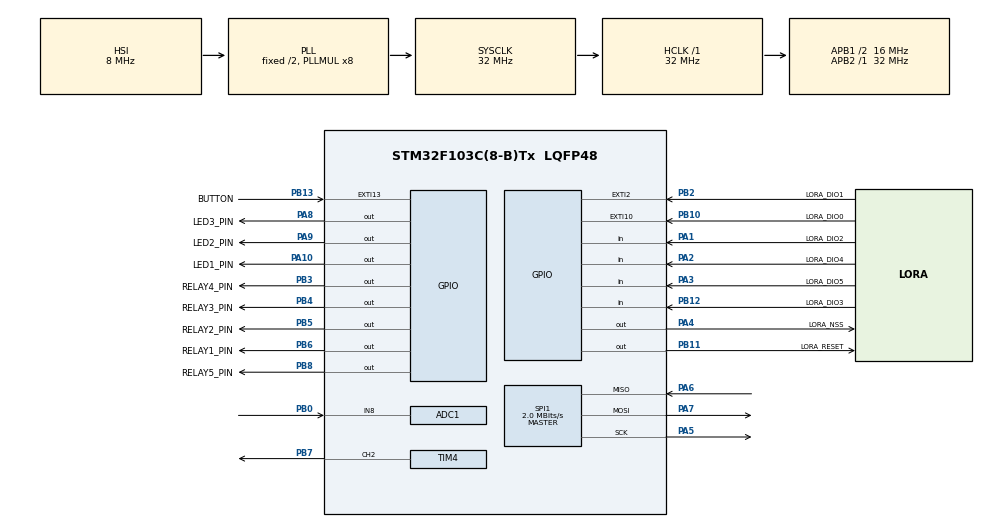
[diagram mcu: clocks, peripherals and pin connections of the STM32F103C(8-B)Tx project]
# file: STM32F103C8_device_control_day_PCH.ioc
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ADC1.Channel-4\#ChannelRegularConversion=ADC_CHANNEL_8
ADC1.NbrOfConversionFlag=1
ADC1.Rank-4\#ChannelRegularConversion=1
ADC1.SamplingTime-4\#ChannelRegularConversion=ADC_SAMPLETIME_55CYCLES_5
ADC1.master=1
Mcu.Family=STM32F1
Mcu.Name=STM32F103C(8-B)Tx
Mcu.Package=LQFP48
NVIC.EXTI15_10_IRQn=true\:0\:0\:false\:false\:true\:true\:true
NVIC.EXTI2_IRQn=true\:0\:0\:false\:false\:true\:true\:true
NVIC.PriorityGroup=NVIC_PRIORITYGROUP_4
NVIC.RTC_Alarm_IRQn=true\:0\:0\:false\:false\:true\:true\:true
NVIC.SPI1_IRQn=true\:0\:0\:false\:false\:true\:true\:true
PA1.GPIO_Label=LORA_DIO2
PA1.Signal=GPIO_Input
PA10.GPIO_Label=LED1_PIN
PA10.Signal=GPIO_Output
PA13.Mode=Serial_Wire
PA13.Signal=SYS_JTMS-SWDIO
PA14.Mode=Serial_Wire
PA14.Signal=SYS_JTCK-SWCLK
PA2.GPIO_Label=LORA_DIO4
PA2.Signal=GPIO_Input
PA3.GPIO_Label=LORA_DIO5
PA3.Signal=GPIO_Input
PA4.GPIO_Label=LORA_NSS
PA4.Signal=GPIO_Output
PA5.Mode=Full_Duplex_Master
PA5.Signal=SPI1_SCK
PA6.Mode=Full_Duplex_Master
PA6.Signal=SPI1_MISO
PA7.Mode=Full_Duplex_Master
PA7.Signal=SPI1_MOSI
PA8.GPIO_Label=LED3_PIN
PA8.Signal=GPIO_Output
PA9.GPIO_Label=LED2_PIN
PA9.Signal=GPIO_Output
PB0.Signal=ADCx_IN8
PB10.GPIO_Label=LORA_DIO0
PB10.GPIO_PuPd=GPIO_PULLDOWN
PB10.Signal=GPXTI10
PB11.GPIO_Label=LORA_RESET
PB11.Signal=GPIO_Output
PB12.GPIO_Label=LORA_DIO3
PB12.Signal=GPIO_Input
PB13.GPIO_Label=BUTTON
PB13.Signal=GPXTI13
PB2.GPIO_Label=LORA_DIO1
PB2.GPIO_PuPd=GPIO_PULLDOWN
PB2.Signal=GPXTI2
PB3.GPIO_Label=RELAY4_PIN
PB3.Signal=GPIO_Output
PB4.GPIO_Label=RELAY3_PIN
PB4.Signal=GPIO_Output
PB5.GPIO_Label=RELAY2_PIN
PB5.Signal=GPIO_Output
PB6.GPIO_Label=RELAY1_PIN
PB6.Signal=GPIO_Output
PB7.Signal=S_TIM4_CH2
PB8.GPIO_Label=RELAY5_PIN
PB8.Signal=GPIO_Output
ProjectManager.HeapSize=0x200
ProjectManager.StackSize=0x400
ProjectManager.TargetToolchain=STM32CubeIDE
RCC.ADCPresc=RCC_ADCPCLK2_DIV4
RCC.AHBFreq_Value=32000000
RCC.APB1CLKDivider=RCC_HCLK_DIV2
RCC.APB1Freq_Value=16000000
RCC.APB1TimFreq_Value=32000000
RCC.APB2Freq_Value=32000000
RCC.APB2TimFreq_Value=32000000
RCC.HCLKFreq_Value=32000000
RCC.PLLMUL=RCC_PLL_MUL8
RCC.SYSCLKFreq_VALUE=32000000
RCC.SYSCLKSource=RCC_SYSCLKSOURCE_PLLCLK
RCC.USBFreq_Value=32000000
RTC.Format=RTC_FORMAT_BIN
SH.ADCx_IN8.0=ADC1_IN8,IN8
SH.S_TIM4_CH2.0=TIM4_CH2,PWM Generation2 CH2
SPI1.BaudRatePrescaler=SPI_BAUDRATEPRESCALER_16
SPI1.CalculateBaudRate=2.0 MBits/s
SPI1.Direction=SPI_DIRECTION_2LINES
SPI1.Mode=SPI_MODE_MASTER
SPI1.VirtualType=VM_MASTER
TIM2.Prescaler=72
TIM4.Channel-PWM\ Generation2\ CH2=TIM_CHANNEL_2
TIM4.Period=4095
TIM4.Prescaler=0
VP_RTC_VS_RTC_Activate.Mode=RTC_Enabled
VP_TIM2_VS_ClockSourceINT.Mode=Internal
board=custom

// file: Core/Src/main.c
/* USER CODE BEGIN Header */
/**
  ******************************************************************************
  * @file           : main.c
  * @brief          : Main program body
  ******************************************************************************
  * @attention
  *
  * <h2><center>&copy; Copyright (c) 2020 STMicroelectronics.
  * All rights reserved.</center></h2>
  *
  * This software component is licensed by ST under BSD 3-Clause license,
  * the "License"; You may not use this file except in compliance with the
  * License. You may obtain a copy of the License at:
  *                        opensource.org/licenses/BSD-3-Clause
  *
  ******************************************************************************
  */
/* USER CODE END Header */
#include "main.h"

/* USER CODE BEGIN Includes */
#include <stdlib.h>
#include <string.h>
#include <stdbool.h>
#include <math.h>
#include "../LoRa_main_cpp/LoRa_main_file.h"
#include <FlashPROM.h>

#include <Device_relay.h>
#include <Device_mosfet.h>
#include <Clock_channel.h>

/* USER CODE END Includes */

/* USER CODE BEGIN PD */

#if defined( BUILD_TESTING_CODE_409 )
#define BAND             433375E3
#define PABOOST          true
#define SIGNAL_POWER     14
#define SPREADING_FACTOR 8
#define SIGNAL_BANDWIDTH 150E3
#define SYNC_WORD        0xA5
//  LoRa_begin_result = Begin_lora_module(BAND, true, 14, 8, 250E3, 0x4A);
#else

#define BAND	         43455E4 // basement | object1
//#define BAND             43325E4 // specialized control | test table

#define PABOOST          true
#define SIGNAL_POWER     14
#define SPREADING_FACTOR 8
#define SIGNAL_BANDWIDTH 250E3
#define SYNC_WORD        0x4A
#endif

//#define _TSL2561
//#define _BME280
//#define _CCS811
//#define _WATER_TEMP

#define AMT_CHANNEL 1
//#define CLEAR_TIME
#define USE_LORA
//#define TIME_ADJUSTMENT
#define ADJUSTMENT_SEC 17
#define ADJUSTMENT_SIGN + // +/-

#if defined( USE_LORA )
#define USE_LORA_RTC_SYNC
#define RTC_SYNC_PERIOD_MIN 30
#endif

/* USER CODE END PD */

ADC_HandleTypeDef hadc1;

RTC_HandleTypeDef hrtc;

SPI_HandleTypeDef hspi1;

TIM_HandleTypeDef htim2;
TIM_HandleTypeDef htim4;

/* USER CODE BEGIN PV */

RTC_TimeTypeDef next_time;
struct clock_channel_t all_channel[AMT_CHANNEL];

#if (AMT_CHANNEL > 0)
struct clock_channel_t* channel1 = &all_channel[0];
RTC_TimeTypeDef time_channel1_inclusion = {.Hours=6, .Minutes=0, .Seconds=00};
RTC_TimeTypeDef time_channel1_shutdown = {.Hours=22, .Minutes=00, .Seconds=00};
//RTC_TimeTypeDef time_channel1_inclusion = {.Hours=6, .Minutes=0, .Seconds=00};
//RTC_TimeTypeDef time_channel1_shutdown = {.Hours=0, .Minutes=1, .Seconds=00};
#endif
#if (AMT_CHANNEL > 1)
struct clock_channel_t* channel2 = &all_channel[1];
RTC_TimeTypeDef time_channel2_inclusion = {.Hours=6, .Minutes=0, .Seconds=00};
RTC_TimeTypeDef time_channel2_shutdown = {.Hours=0, .Minutes=1, .Seconds=00};
#endif
#if (AMT_CHANNEL > 2)
struct clock_channel_t* channel3 = &all_channel[2];
RTC_TimeTypeDef time_channel3_inclusion = {.Hours=22, .Minutes=45, .Seconds=0};
RTC_TimeTypeDef time_channel3_shutdown = {.Hours=0, .Minutes=6, .Seconds=0};
#endif
#if (AMT_CHANNEL > 3)
#endif

#if defined (CLEAR_TIME)
RTC_TimeTypeDef clear_time = {.Hours=0, .Minutes=1, .Seconds=0};
#endif

RTC_TimeTypeDef time_synchronization = {.Hours=23, .Minutes=59, .Seconds=30};

struct relay_t relay_led;
bool relay_invert_led;

#if defined( DEBUG )
uint8_t hour=0, min=0, sec=0;
#endif

uint8_t build_hour=0, build_min=0, build_sec=0;

#if defined( TIME_ADJUSTMENT )
RTC_TimeTypeDef time_adjustment;
#endif

#if defined( USE_LORA_RTC_SYNC )
uint32_t deviation_sync_time = 0;
#endif

#if defined( TIME_ADJUSTMENT ) || defined( USE_LORA_RTC_SYNC )
RTC_TimeTypeDef time_subtraction;
#endif

RTC_TimeTypeDef set_sync_time =  {.Hours=0, .Minutes=0, .Seconds=0};
volatile bool receive_sync_time = false;
volatile bool regime_change = false;

volatile int send_type_packet = -1;

												// TSL2561
uint8_t STADY_CONACT_NUMBER = 0;

//SensorsDataTypeDef sensors_data;
DevicesDataTypeDef devices_data;

struct relay_t relay[5];
struct relay_t *relay_start = /** &relay[3]; //*/ &relay[0];
struct relay_t *relay_stop  = /** &relay[2]; //*/ &relay[1];
//struct relay_t *relay_r     = ; // &relay[3];
struct relay_t *relay_valve = /** &relay[0]; //*/ &relay[4]; // ??? (-) ----- (-) ----- (-)
bool relay_invert[5] = {false, false, false, false, false};

struct mosfet_t freq_signal;
// mosfet = mosfet_init(&htim1, TIM_CHANNEL_2, 4095, false);
// mosfet_set_compare(&mosfet, val);

void reset_all_relays() {
	for(int i = 0; i < 5; ++i) {
		relay_set_state(&relay[i], GPIO_PIN_RESET);
	}
    //HAL_GPIO_WritePin(GPIOB, GPIO_PIN_3|GPIO_PIN_4|GPIO_PIN_5|GPIO_PIN_6, GPIO_PIN_RESET);
	//                       RELAY4,    RELAY3,    RELAY2,    RELAY1
}
void set_pwm_pch(uint16_t power) {
	mosfet_set_compare(&freq_signal, power);
}
void start() { // START
	reset_all_relays();
	relay_set_state(relay_start, GPIO_PIN_SET);
    // HAL_GPIO_WritePin(GPIOB, GPIO_PIN_5|GPIO_PIN_4|GPIO_PIN_3, GPIO_PIN_RESET);
    // HAL_GPIO_WritePin(GPIOB, GPIO_PIN_6, GPIO_PIN_SET); // RELAY1
}
void stop() { // STOP
	reset_all_relays();
	relay_set_state(relay_stop, GPIO_PIN_SET);
	set_pwm_pch(0);
	// HAL_GPIO_WritePin(GPIOB, GPIO_PIN_6|GPIO_PIN_4|GPIO_PIN_3, GPIO_PIN_RESET);
	// HAL_GPIO_WritePin(GPIOB, GPIO_PIN_5, GPIO_PIN_SET); // RELAY2
}
void use_valve() { // REVERT
	reset_all_relays();
	relay_set_state(relay_stop, GPIO_PIN_SET);
	relay_set_state(relay_valve, GPIO_PIN_SET);
	set_pwm_pch(0);
	// HAL_GPIO_WritePin(GPIOB, GPIO_PIN_5|GPIO_PIN_4|GPIO_PIN_6, GPIO_PIN_RESET);
	// HAL_GPIO_WritePin(GPIOB, GPIO_PIN_3, GPIO_PIN_SET); // RELAY4
}
//void revert() { // REVERT
//	relay_set_state(relay_r, !relay_r->state);
//	// HAL_GPIO_WritePin(GPIOB, GPIO_PIN_5|GPIO_PIN_4|GPIO_PIN_6, GPIO_PIN_RESET);
//	// HAL_GPIO_WritePin(GPIOB, GPIO_PIN_3, GPIO_PIN_SET); // RELAY4
//}

//const uint16_t PUMP_PWM_DAY  = 4095;
const unsigned long PUMP_ON_DAY  = /** (1 * 60 + 00) * 1000; //*/ (0 * 60 + 20) * 1000; // (1 * 60 + 00) * 1000;
const unsigned long PUMP_OFF_DAY = /** (4 * 60 + 00) * 1000; //*/ (0 * 60 + 40) * 1000; // (4 * 60 + 00) * 1000;
const unsigned long VALVE_ON_DAY = /** (0 * 60 + 10) * 1000; //*/ (0 * 60 + 10) * 1000; // (0 * 60 + 10) * 1000;
//const uint16_t PUMP_PWM_NIGHT  = 4095;
const unsigned long PUMP_ON_NIGHT  = /** (1 * 60 + 00) * 1000; //*/ (0 * 60 + 20) * 1000; // (1 * 60 + 00) * 1000;
const unsigned long PUMP_OFF_NIGHT = /** (6 * 60 + 00) * 1000; //*/ (0 * 60 + 60) * 1000; // (6 * 60 + 00) * 1000;
const unsigned long VALVE_ON_NIGHT = /** (0 * 60 + 10) * 1000; //*/ (0 * 60 + 10) * 1000; // (0 * 60 + 10) * 1000;
unsigned long last_devices_change = 0;
uint8_t devices_state = 0;
bool get_stop = false;

volatile bool set_pwm = false;
volatile uint16_t set_pump_pwm = 4095; // set from server
uint16_t pump_pwm = 4095; // set in main

uint8_t LoRa_begin_result;

// If gain = false (0), device is set to low gain (1X)
// If gain = high (1), device is set to high gain (16X)
// If time = 0, integration will be 13.7ms
// If time = 1, integration will be 101ms
// If time = 2, integration will be 402ms
// If time = 3, use manual start / stop (ms = 0)
// ms will be set to integration time
bool gain = 0;
unsigned  int ms = 0;
void user_delay_ms(uint32_t period);

uint8_t tim4 = 0;

int8_t rslt;

uint16_t exti5_10, exti2;
uint16_t cnt_task_1, cnt_task_2, cnt_task_3;

uint16_t water_temp = 0;

volatile bool end_contact = false;
volatile bool change_state = false;

uint32_t control_module_id_and_channel[BUFFSIZE] = {0x00000000, 0x00000000};
int8_t tick;

//buf32_t control_module_id;
/* USER CODE END PV */

void SystemClock_Config(void);
static void MX_GPIO_Init(void);
static void MX_SPI1_Init(void);
static void MX_TIM2_Init(void);
static void MX_ADC1_Init(void);
static void MX_TIM4_Init(void);
static void MX_RTC_Init(void);
/* USER CODE BEGIN PFP */
void DevicesGetValues();
/* USER CODE END PFP */

/* USER CODE BEGIN 0 */
void alarm_rtc();
void user_delay_ms(uint32_t period)
{
  HAL_Delay(period);
}

void HAL_TIM_PeriodElapsedCallback(TIM_HandleTypeDef *htim)
{
	if(htim->Instance == TIM4) //check if the interrupt comes from TIM1
	{
		//HAL_ResumeTick();
		//HAL_GPIO_TogglePin(LED1_PIN_GPIO_Port, LED1_PIN_Pin);
		tim4++;
		// if end_contact
//			SensorsGetValues();
//			Main_cpp(&sensors_data);
			// wake up
		//HAL_Delay(2000);

	}
}
/* USER CODE END 0 */

int main(void)
{
  /* USER CODE BEGIN 1 */

//  relay_invert[0] = relay_invert[1] = false;
//  relay_invert[2] = relay_invert[3] = false;
//  relay_invert[4] = false;
#if defined( DEBUG )
	RTC_TimeTypeDef time;
	HAL_StatusTypeDef res_t;
#endif

  Read_control_module_info_from_flash(control_module_id_and_channel);
  Get_control_module_info_from_main(control_module_id_and_channel);
  set_pump_pwm = pump_pwm = Read_PWM_info_from_flash();
  /* USER CODE END 1 */

  /* MCU Configuration--------------------------------------------------------*/

  /* Reset of all peripherals, Initializes the Flash interface and the Systick. */
  HAL_Init();

  /* Configure the system clock */
  SystemClock_Config();

  /* Initialize all configured peripherals */
  MX_GPIO_Init();
  MX_SPI1_Init();
  MX_TIM2_Init();
  MX_ADC1_Init();
  MX_TIM4_Init();
  MX_RTC_Init();
  /* USER CODE BEGIN 2 */
  // Подготовка устройств

#if (AMT_CHANNEL > 0)
  relay_led = relay_init(LED1_PIN_GPIO_Port, LED1_PIN_Pin, false);
//  relay[0] = relay_init(RELAY1_PIN_GPIO_Port, RELAY1_PIN_Pin, relay_invert[0]); // {0} -----
  *channel1 = clock_channel_init(&relay_led, time_channel1_inclusion, time_channel1_shutdown);
  channel1->deviation_sec = 2;
#endif
#if (AMT_CHANNEL > 1)
  relay[1] = relay_init(RELAY2_PIN_GPIO_Port, RELAY2_PIN_Pin, relay_invert[1]);
  *channel2 = clock_channel_init(&relay[1], time_channel2_inclusion, time_channel2_shutdown);
  channel2->deviation_sec = 2;
#endif
#if (AMT_CHANNEL > 2)
  relay[2] = relay_init(RELAY_NS_PIN_GPIO_Port, RELAY_NS_PIN_Pin, relay_invert[2]);
  *channel3 = clock_channel_init(&relay[2], time_channel3_inclusion, time_channel3_shutdown);
  channel3->deviation_sec = 2;
#endif
#if (AMT_CHANNEL > 3)
#endif

	relay[0] = relay_init(RELAY1_PIN_GPIO_Port, RELAY1_PIN_Pin, relay_invert[0]);
	relay[1] = relay_init(RELAY2_PIN_GPIO_Port, RELAY2_PIN_Pin, relay_invert[1]);
	relay[2] = relay_init(RELAY3_PIN_GPIO_Port, RELAY3_PIN_Pin, relay_invert[2]);
	relay[3] = relay_init(RELAY4_PIN_GPIO_Port, RELAY4_PIN_Pin, relay_invert[3]);
	relay[4] = relay_init(RELAY5_PIN_GPIO_Port, RELAY5_PIN_Pin, relay_invert[4]);
	freq_signal = mosfet_init(&htim4, TIM_CHANNEL_2, 4095, false);

  //  channel1->state = true;
  //  channel2->state = true;
  //  relay_set_state(channel1->relay, channel1->state);
  //  relay_set_state(channel2->relay, channel2->state);

  // Запуск LoRa
#if defined (USE_LORA)
  Init_lora_module(&hspi1);
  LoRa_begin_result = Begin_lora_module(BAND, PABOOST, SIGNAL_POWER, SPREADING_FACTOR, SIGNAL_BANDWIDTH, SYNC_WORD);
#endif
  for (int i = 0; i < 5; ++i) {
	  HAL_GPIO_TogglePin(LED1_PIN_GPIO_Port, LED1_PIN_Pin);
	  HAL_GPIO_TogglePin(LED2_PIN_GPIO_Port, LED2_PIN_Pin);
	  HAL_GPIO_TogglePin(LED3_PIN_GPIO_Port, LED3_PIN_Pin);
	  HAL_Delay(500);
  }
#if defined (USE_LORA)
  while(LoRa_begin_result != 0) {
	  LoRa_begin_result = Begin_lora_module(BAND, PABOOST, SIGNAL_POWER, SPREADING_FACTOR, SIGNAL_BANDWIDTH, SYNC_WORD);
	  HAL_GPIO_WritePin(LED1_PIN_GPIO_Port, LED1_PIN_Pin, GPIO_PIN_RESET);
	  HAL_GPIO_WritePin(LED2_PIN_GPIO_Port, LED2_PIN_Pin, GPIO_PIN_RESET);
	  HAL_GPIO_WritePin(LED3_PIN_GPIO_Port, LED3_PIN_Pin, GPIO_PIN_SET);
  }
#endif
  HAL_GPIO_WritePin(LED1_PIN_GPIO_Port, LED1_PIN_Pin, GPIO_PIN_RESET);
  HAL_GPIO_WritePin(LED2_PIN_GPIO_Port, LED2_PIN_Pin, GPIO_PIN_RESET);
  HAL_GPIO_WritePin(LED3_PIN_GPIO_Port, LED3_PIN_Pin, GPIO_PIN_RESET);

  // Запуск устройств

  // Перенести установку времени в ESP32!!!, как и запуск на регистрацию
  RTC_TimeTypeDef null_time = {.Hours=build_hour, .Minutes=build_min, .Seconds=build_sec};
#if defined( TIME_ADJUSTMENT )
  time_adjustment = null_time;
#endif

  RTC_DateTypeDef null_date = {.Date=0, .Month=0, .Year=0};
  HAL_RTC_SetTime(&hrtc, &null_time, RTC_FORMAT_BIN);
  alarm_rtc();

#ifdef _CCS811
  configureCCS811();
#endif
  HAL_ADCEx_Calibration_Start(&hadc1);
  HAL_Delay(1000);
  //HAL_TIM_Base_Start_IT(&htim4);
  //HAL_PWR_EnableSleepOnExit();
  //end_contact = true;
//  HAL_GPIO_WritePin(RELAY_NS_PIN_GPIO_Port, RELAY_NS_PIN_Pin, GPIO_PIN_SET);
  DevicesGetValues();
#if defined (USE_LORA)
  Main_cpp(&devices_data);
#endif
  /* USER CODE END 2 */

  /* Infinite loop */
  /* USER CODE BEGIN WHILE */
	HAL_GPIO_TogglePin(LED1_PIN_GPIO_Port, LED1_PIN_Pin);
//  while(0) {
//  	volatile static uint16_t set_pwm = 4095;
//	start();
//  	set_pwm_pch(set_pwm);
//  	HAL_Delay(5000);
//  	stop();
//  	HAL_Delay(5000);
//  }
  while (1)
  {
        res_t = HAL_RTC_GetTime(&hrtc, &time, RTC_FORMAT_BIN);
        if(res_t == HAL_OK) {
            hour = time.Hours;
            min = time.Minutes;
            sec = time.Seconds;
#if defined ( CLEAR_TIME )
            if(hour == clear_time.Hours && min == clear_time.Minutes && sec == clear_time.Seconds) {
        		HAL_RTC_SetDate(&hrtc, &null_date, RTC_FORMAT_BIN);
        		HAL_RTC_SetTime(&hrtc, &null_time, RTC_FORMAT_BIN);
#if defined( TIME_ADJUSTMENT )
        		time_subtraction = clock_subtraction(&time, &time_adjustment);
        		time = null_time;
        		time_adjustment = time;
        		clock_add_second(&time_adjustment, -clock_get_sec(&time_subtraction));
#endif
        		alarm_rtc();
            }
#endif // CLEAR_TIME

#if defined ( USE_LORA_RTC_SYNC )
            if(sec == 0) {
            	time_subtraction = clock_subtraction(&time, &set_sync_time);
            	if(clock_get_sec(&time_subtraction) > RTC_SYNC_PERIOD_MIN * 60) {
            		if(HAL_GetTick() - deviation_sync_time > 60000) {
            			deviation_sync_time = HAL_GetTick();
            			Set_sync_rtc();
            		}
            	}
            }
#endif // USE_LORA_RTC_SYNC
        }

#if defined( TIME_ADJUSTMENT ) // корректировка времени
        time_subtraction = clock_subtraction(&time, &time_adjustment);
        if(clock_get_sec(&time_subtraction) > ADJUSTMENT_SEC) {
//        	for()
//        		__NOP();
        	clock_add_second(&time, ADJUSTMENT_SIGN 1);
    		HAL_RTC_SetDate(&hrtc, &null_date, RTC_FORMAT_BIN);
    		HAL_RTC_SetTime(&hrtc, &time, RTC_FORMAT_BIN);
        	time_adjustment = time;
    		alarm_rtc();
        }
#endif

        // Создаём пакет по включение/выключение устройства или завершении контакта
        if(change_state || end_contact) {
            DevicesGetValues();
            Main_cpp(&devices_data);
            change_state = false;
    		end_contact = false;
        }
        // Принудительное включение/выключение устройства (отключение оборудования)
        if(regime_change) {
			alarm_rtc();
            DevicesGetValues();
            Main_cpp(&devices_data);
            regime_change = false;
        }
        // Установка времени
        if(receive_sync_time) {
        	RTC_TimeTypeDef set_time = set_sync_time;
        	HAL_RTC_SetDate(&hrtc, &null_date, RTC_FORMAT_BIN);
			HAL_RTC_SetTime(&hrtc, &set_time, RTC_FORMAT_BIN);
#if defined( TIME_ADJUSTMENT )
        		time_subtraction = clock_subtraction(&time, &time_adjustment);
        		time = set_time;
        		time_adjustment = time;
        		clock_add_second(&time_adjustment, -clock_get_sec(&time_subtraction));
#endif
			alarm_rtc();
            receive_sync_time = false;
            change_state = true;
        }

        // Управление каналами по дню и ночи
#if defined (USE_LORA)
    	if(Get_stop()) {
    		get_stop = true;
//            relay_set_state(&relay[1], GPIO_PIN_RESET);
//            relay_set_state(&relay[0], GPIO_PIN_RESET);
            stop();
            last_devices_change = HAL_GetTick();
			devices_state = 0;
    	}
    	else
#endif
        {
//    		volatile bool set_pwm = false;
//    		volatile uint16_t set_pump_pwm = 4095; // set from server
//    		uint16_t pump_pwm = 4095; // set in main
    		get_stop = false;
    		static unsigned long pump_on;
    		static unsigned long valve_on;
    		static unsigned long pump_off;
    		if(set_pwm) { // set PWM from server
    			set_pwm = false;
    			pump_pwm = set_pump_pwm;
    			Write_PWM_to_flash(pump_pwm);
    		}
//    		static uint16_t pump_pwm;
            if(all_channel[0].state) {
            	pump_on = PUMP_ON_DAY;
            	pump_off = PUMP_OFF_DAY;
                valve_on = VALVE_ON_DAY;
//				pump_pwm = PUMP_PWM_DAY;
            }
            else {
            	pump_on = PUMP_ON_NIGHT;
            	pump_off = PUMP_OFF_NIGHT;
                valve_on = VALVE_ON_NIGHT;
//        		pump_pwm = PUMP_PWM_NIGHT;
            }
        	switch(devices_state) {
        	case 0: {
        		if(pump_pwm != 0)
        			start();
	            set_pwm_pch(pump_pwm);
        		if(HAL_GetTick() - last_devices_change > pump_on) {
        			last_devices_change = HAL_GetTick();
//					relay_set_state(&relay[1], GPIO_PIN_SET);
//					relay_set_state(&relay[0], GPIO_PIN_RESET);
					devices_state = 1;
					use_valve();
		            DevicesGetValues();
		            Main_cpp(&devices_data);
        		}
        		break;
        	}
        	case 1: {
        		use_valve();
        		if(HAL_GetTick() - last_devices_change > valve_on) {
        			last_devices_change = HAL_GetTick();
//                    relay_set_state(&relay[1], GPIO_PIN_RESET);
//                    relay_set_state(&relay[0], GPIO_PIN_SET);
					devices_state = 2;
		            stop();
		            DevicesGetValues();
		            Main_cpp(&devices_data);
        		}
        		break;
        	}
        	case 2: {
	            stop();
        		if(HAL_GetTick() - last_devices_change > pump_off - valve_on) {
        			last_devices_change = HAL_GetTick();
//                    relay_set_state(&relay[1], GPIO_PIN_RESET);
//                    relay_set_state(&relay[0], GPIO_PIN_RESET);
					devices_state = 0;
		            start();
		            set_pwm_pch(pump_pwm);
		            DevicesGetValues();
		            Main_cpp(&devices_data);
        		}
        		break;
        	}
        	}
        }

//    	volatile static uint16_t set_pwm = 1000;
//		start();
//    	set_pwm_pch(set_pwm);
//    	stop();
////    	HAL_Delay(5000);
//    	set_pwm_pch(2047);
////    	HAL_Delay(5000);
//    	set_pwm_pch(3071);
////    	HAL_Delay(5000);
//    	set_pwm_pch(4095);
////    	HAL_Delay(5000);
//    	stop();
//    	HAL_Delay(10000);

    	if(Get_stop()) {
    	    HAL_GPIO_WritePin(LED1_PIN_GPIO_Port, LED1_PIN_Pin, GPIO_PIN_RESET);
    	    HAL_GPIO_WritePin(LED2_PIN_GPIO_Port, LED2_PIN_Pin, GPIO_PIN_SET);
//    	    HAL_GPIO_WritePin(LED2_PIN_GPIO_Port, LED2_PIN_Pin, GPIO_PIN_RESET);
//    	    HAL_GPIO_WritePin(LED3_PIN_GPIO_Port, LED3_PIN_Pin, GPIO_PIN_SET);
    	}
    	else {
    	    HAL_GPIO_WritePin(LED2_PIN_GPIO_Port, LED2_PIN_Pin, GPIO_PIN_RESET);
    	    HAL_GPIO_WritePin(LED1_PIN_GPIO_Port, LED1_PIN_Pin, GPIO_PIN_SET);
//    	    HAL_GPIO_WritePin(LED3_PIN_GPIO_Port, LED3_PIN_Pin, GPIO_PIN_RESET);
//    	    HAL_GPIO_WritePin(LED2_PIN_GPIO_Port, LED2_PIN_Pin, GPIO_PIN_SET);
	    }

        HAL_Delay(1);
    /* USER CODE END WHILE */

    /* USER CODE BEGIN 3 */

//	if (end_contact) { // not use
//		end_contact = false;
//		HAL_Delay(100);
//		HAL_TIM_Base_Start_IT(&htim4);
//		HAL_Delay(100);
//		LoRa_sleep();
//		HAL_SuspendTick();
//		HAL_PWR_EnterSLEEPMode(PWR_LOWPOWERREGULATOR_ON, PWR_SLEEPENTRY_WFI);
//		HAL_ResumeTick();
//		HAL_TIM_Base_Stop_IT(&htim4);
//		DevicesGetValues();
//		Main_cpp(&devices_data);
//	}
  }
  /* USER CODE END 3 */
}

void SystemClock_Config(void)
{
  RCC_OscInitTypeDef RCC_OscInitStruct = {0};
  RCC_ClkInitTypeDef RCC_ClkInitStruct = {0};
  RCC_PeriphCLKInitTypeDef PeriphClkInit = {0};

  /** Initializes the RCC Oscillators according to the specified parameters
  * in the RCC_OscInitTypeDef structure.
  */
  RCC_OscInitStruct.OscillatorType = RCC_OSCILLATORTYPE_HSI|RCC_OSCILLATORTYPE_LSI;
  RCC_OscInitStruct.HSIState = RCC_HSI_ON;
  RCC_OscInitStruct.HSICalibrationValue = RCC_HSICALIBRATION_DEFAULT;
  RCC_OscInitStruct.LSIState = RCC_LSI_ON;
  RCC_OscInitStruct.PLL.PLLState = RCC_PLL_ON;
  RCC_OscInitStruct.PLL.PLLSource = RCC_PLLSOURCE_HSI_DIV2;
  RCC_OscInitStruct.PLL.PLLMUL = RCC_PLL_MUL8;
  if (HAL_RCC_OscConfig(&RCC_OscInitStruct) != HAL_OK)
  {
    Error_Handler();
  }
  /** Initializes the CPU, AHB and APB buses clocks
  */
  RCC_ClkInitStruct.ClockType = RCC_CLOCKTYPE_HCLK|RCC_CLOCKTYPE_SYSCLK
                              |RCC_CLOCKTYPE_PCLK1|RCC_CLOCKTYPE_PCLK2;
  RCC_ClkInitStruct.SYSCLKSource = RCC_SYSCLKSOURCE_PLLCLK;
  RCC_ClkInitStruct.AHBCLKDivider = RCC_SYSCLK_DIV1;
  RCC_ClkInitStruct.APB1CLKDivider = RCC_HCLK_DIV2;
  RCC_ClkInitStruct.APB2CLKDivider = RCC_HCLK_DIV1;

  if (HAL_RCC_ClockConfig(&RCC_ClkInitStruct, FLASH_LATENCY_1) != HAL_OK)
  {
    Error_Handler();
  }
  PeriphClkInit.PeriphClockSelection = RCC_PERIPHCLK_RTC|RCC_PERIPHCLK_ADC;
  PeriphClkInit.RTCClockSelection = RCC_RTCCLKSOURCE_LSI;
  PeriphClkInit.AdcClockSelection = RCC_ADCPCLK2_DIV4;
  if (HAL_RCCEx_PeriphCLKConfig(&PeriphClkInit) != HAL_OK)
  {
    Error_Handler();
  }
}

static void MX_ADC1_Init(void)
{

  ADC_ChannelConfTypeDef sConfig = {0};

  /** Common config
  */
  hadc1.Instance = ADC1;
  hadc1.Init.ScanConvMode = ADC_SCAN_DISABLE;
  hadc1.Init.ContinuousConvMode = DISABLE;
  hadc1.Init.DiscontinuousConvMode = DISABLE;
  hadc1.Init.ExternalTrigConv = ADC_SOFTWARE_START;
  hadc1.Init.DataAlign = ADC_DATAALIGN_RIGHT;
  hadc1.Init.NbrOfConversion = 1;
  if (HAL_ADC_Init(&hadc1) != HAL_OK)
  {
    Error_Handler();
  }
  /** Configure Regular Channel
  */
  sConfig.Channel = ADC_CHANNEL_8;
  sConfig.Rank = ADC_REGULAR_RANK_1;
  sConfig.SamplingTime = ADC_SAMPLETIME_55CYCLES_5;
  if (HAL_ADC_ConfigChannel(&hadc1, &sConfig) != HAL_OK)
  {
    Error_Handler();
  }

}

static void MX_RTC_Init(void)
{

  /** Initialize RTC Only
  */
  hrtc.Instance = RTC;
  hrtc.Init.AsynchPrediv = RTC_AUTO_1_SECOND;
  hrtc.Init.OutPut = RTC_OUTPUTSOURCE_ALARM;
  if (HAL_RTC_Init(&hrtc) != HAL_OK)
  {
    Error_Handler();
  }

}

static void MX_SPI1_Init(void)
{

  /* SPI1 parameter configuration*/
  hspi1.Instance = SPI1;
  hspi1.Init.Mode = SPI_MODE_MASTER;
  hspi1.Init.Direction = SPI_DIRECTION_2LINES;
  hspi1.Init.DataSize = SPI_DATASIZE_8BIT;
  hspi1.Init.CLKPolarity = SPI_POLARITY_LOW;
  hspi1.Init.CLKPhase = SPI_PHASE_1EDGE;
  hspi1.Init.NSS = SPI_NSS_SOFT;
  hspi1.Init.BaudRatePrescaler = SPI_BAUDRATEPRESCALER_16;
  hspi1.Init.FirstBit = SPI_FIRSTBIT_MSB;
  hspi1.Init.TIMode = SPI_TIMODE_DISABLE;
  hspi1.Init.CRCCalculation = SPI_CRCCALCULATION_DISABLE;
  hspi1.Init.CRCPolynomial = 10;
  if (HAL_SPI_Init(&hspi1) != HAL_OK)
  {
    Error_Handler();
  }

}

static void MX_TIM2_Init(void)
{

  TIM_ClockConfigTypeDef sClockSourceConfig = {0};
  TIM_MasterConfigTypeDef sMasterConfig = {0};

  htim2.Instance = TIM2;
  htim2.Init.Prescaler = 72;
  htim2.Init.CounterMode = TIM_COUNTERMODE_UP;
  htim2.Init.Period = 65535;
  htim2.Init.ClockDivision = TIM_CLOCKDIVISION_DIV1;
  htim2.Init.AutoReloadPreload = TIM_AUTORELOAD_PRELOAD_DISABLE;
  if (HAL_TIM_Base_Init(&htim2) != HAL_OK)
  {
    Error_Handler();
  }
  sClockSourceConfig.ClockSource = TIM_CLOCKSOURCE_INTERNAL;
  if (HAL_TIM_ConfigClockSource(&htim2, &sClockSourceConfig) != HAL_OK)
  {
    Error_Handler();
  }
  sMasterConfig.MasterOutputTrigger = TIM_TRGO_RESET;
  sMasterConfig.MasterSlaveMode = TIM_MASTERSLAVEMODE_DISABLE;
  if (HAL_TIMEx_MasterConfigSynchronization(&htim2, &sMasterConfig) != HAL_OK)
  {
    Error_Handler();
  }

}

static void MX_TIM4_Init(void)
{

  TIM_MasterConfigTypeDef sMasterConfig = {0};
  TIM_OC_InitTypeDef sConfigOC = {0};

  htim4.Instance = TIM4;
  htim4.Init.Prescaler = 0;
  htim4.Init.CounterMode = TIM_COUNTERMODE_UP;
  htim4.Init.Period = 4095;
  htim4.Init.ClockDivision = TIM_CLOCKDIVISION_DIV1;
  htim4.Init.AutoReloadPreload = TIM_AUTORELOAD_PRELOAD_DISABLE;
  if (HAL_TIM_PWM_Init(&htim4) != HAL_OK)
  {
    Error_Handler();
  }
  sMasterConfig.MasterOutputTrigger = TIM_TRGO_RESET;
  sMasterConfig.MasterSlaveMode = TIM_MASTERSLAVEMODE_DISABLE;
  if (HAL_TIMEx_MasterConfigSynchronization(&htim4, &sMasterConfig) != HAL_OK)
  {
    Error_Handler();
  }
  sConfigOC.OCMode = TIM_OCMODE_PWM1;
  sConfigOC.Pulse = 0;
  sConfigOC.OCPolarity = TIM_OCPOLARITY_HIGH;
  sConfigOC.OCFastMode = TIM_OCFAST_DISABLE;
  if (HAL_TIM_PWM_ConfigChannel(&htim4, &sConfigOC, TIM_CHANNEL_2) != HAL_OK)
  {
    Error_Handler();
  }
  HAL_TIM_MspPostInit(&htim4);

}

static void MX_GPIO_Init(void)
{
  GPIO_InitTypeDef GPIO_InitStruct = {0};

  /* GPIO Ports Clock Enable */
  __HAL_RCC_GPIOA_CLK_ENABLE();
  __HAL_RCC_GPIOB_CLK_ENABLE();

  /*Configure GPIO pin Output Level */
  HAL_GPIO_WritePin(GPIOA, LORA_NSS_Pin|LED3_PIN_Pin|LED2_PIN_Pin|LED1_PIN_Pin, GPIO_PIN_RESET);

  /*Configure GPIO pin Output Level */
  HAL_GPIO_WritePin(GPIOB, LORA_RESET_Pin|RELAY4_PIN_Pin|RELAY3_PIN_Pin|RELAY2_PIN_Pin
                          |RELAY1_PIN_Pin|RELAY5_PIN_Pin, GPIO_PIN_RESET);

  /*Configure GPIO pins : LORA_DIO2_Pin LORA_DIO4_Pin LORA_DIO5_Pin */
  GPIO_InitStruct.Pin = LORA_DIO2_Pin|LORA_DIO4_Pin|LORA_DIO5_Pin;
  GPIO_InitStruct.Mode = GPIO_MODE_INPUT;
  GPIO_InitStruct.Pull = GPIO_NOPULL;
  HAL_GPIO_Init(GPIOA, &GPIO_InitStruct);

  /*Configure GPIO pins : LORA_NSS_Pin LED3_PIN_Pin LED2_PIN_Pin LED1_PIN_Pin */
  GPIO_InitStruct.Pin = LORA_NSS_Pin|LED3_PIN_Pin|LED2_PIN_Pin|LED1_PIN_Pin;
  GPIO_InitStruct.Mode = GPIO_MODE_OUTPUT_PP;
  GPIO_InitStruct.Pull = GPIO_NOPULL;
  GPIO_InitStruct.Speed = GPIO_SPEED_FREQ_LOW;
  HAL_GPIO_Init(GPIOA, &GPIO_InitStruct);

  /*Configure GPIO pins : LORA_DIO1_Pin LORA_DIO0_Pin */
  GPIO_InitStruct.Pin = LORA_DIO1_Pin|LORA_DIO0_Pin;
  GPIO_InitStruct.Mode = GPIO_MODE_IT_RISING;
  GPIO_InitStruct.Pull = GPIO_PULLDOWN;
  HAL_GPIO_Init(GPIOB, &GPIO_InitStruct);

  /*Configure GPIO pins : LORA_RESET_Pin RELAY4_PIN_Pin RELAY3_PIN_Pin RELAY2_PIN_Pin
                           RELAY1_PIN_Pin RELAY5_PIN_Pin */
  GPIO_InitStruct.Pin = LORA_RESET_Pin|RELAY4_PIN_Pin|RELAY3_PIN_Pin|RELAY2_PIN_Pin
                          |RELAY1_PIN_Pin|RELAY5_PIN_Pin;
  GPIO_InitStruct.Mode = GPIO_MODE_OUTPUT_PP;
  GPIO_InitStruct.Pull = GPIO_NOPULL;
  GPIO_InitStruct.Speed = GPIO_SPEED_FREQ_LOW;
  HAL_GPIO_Init(GPIOB, &GPIO_InitStruct);

  /*Configure GPIO pin : LORA_DIO3_Pin */
  GPIO_InitStruct.Pin = LORA_DIO3_Pin;
  GPIO_InitStruct.Mode = GPIO_MODE_INPUT;
  GPIO_InitStruct.Pull = GPIO_NOPULL;
  HAL_GPIO_Init(LORA_DIO3_GPIO_Port, &GPIO_InitStruct);

  /*Configure GPIO pin : BUTTON_Pin */
  GPIO_InitStruct.Pin = BUTTON_Pin;
  GPIO_InitStruct.Mode = GPIO_MODE_IT_RISING;
  GPIO_InitStruct.Pull = GPIO_NOPULL;
  HAL_GPIO_Init(BUTTON_GPIO_Port, &GPIO_InitStruct);

  /* EXTI interrupt init*/
  HAL_NVIC_SetPriority(EXTI2_IRQn, 0, 0);
  HAL_NVIC_EnableIRQ(EXTI2_IRQn);

  HAL_NVIC_SetPriority(EXTI15_10_IRQn, 0, 0);
  HAL_NVIC_EnableIRQ(EXTI15_10_IRQn);

}

/* USER CODE BEGIN 4 */
void HAL_GPIO_EXTI_Callback(uint16_t GPIO_Pin)
{
  if(GPIO_Pin== GPIO_PIN_2) {
    exti2++;
    //HAL_ResumeTick();
    Contact_group_control_module();
  } else if(GPIO_Pin== GPIO_PIN_10){
    exti5_10++;
    //HAL_ResumeTick();
    Contact_group_control_module();
  } else{
    __NOP();
  }
}

void alarm_rtc() {
	RTC_AlarmTypeDef alarm = {.Alarm=1};
	alarm.AlarmTime = find_alarm_clock(all_channel, AMT_CHANNEL);

#if defined (USE_LORA)
	if(Get_stop()) {
		for(int i = 0; i < AMT_CHANNEL; ++i) {
			all_channel[i].state = false;
			if(all_channel[i].relay != NULL) // если есть реле, то и его переключаем
				relay_set_state(all_channel[i].relay, all_channel[i].state);
		}
	}
	else
#endif
		for(int i = 0; i < AMT_CHANNEL; ++i)
			check_state_by_RTC(&all_channel[i]);
	HAL_RTC_SetAlarm(&hrtc, &alarm, RTC_FORMAT_BIN);
	HAL_RTC_SetAlarm_IT(&hrtc, &alarm, RTC_FORMAT_BIN);
#if defined(DEBUG)
	next_time = alarm.AlarmTime;
#endif
	change_state = true;
}

void DevicesGetValues() {
//	devices_data.device1 = freq_signal.compare;
	if(relay_start->state)
		devices_data.device1 = 4095;
	else
		devices_data.device1 = 0;

//	if(relay[0].state)
//		devices_data.device1 = 4095;
//	else
//		devices_data.device1 = 0;
//	if(relay[1].state)
//		devices_data.device2 = 4095;
//	else
//		devices_data.device2 = 0;
//	if(relay[2].state)
//		devices_data.device3 = 4095;
//	else
//		devices_data.device3 = 0;

#ifdef _TSL2561
	unsigned int data0, data1;
	if (TSL2561_getData(&data0, &data1))
	{
		double lux;
		TSL2561_getLux(gain, ms, data0, data1, &lux);
		sensors_data.lux = lux;
		//lora_sensor_set_data(&illumination_sensor,(float)lux);
	}
#endif

#ifdef _BME280
	rslt = bme280_get_sensor_data(BME280_ALL, &comp_data, &dev);
	if(rslt == BME280_OK)
	{
		sensors_data.temperature = comp_data.temperature / 100.0;      /* C  */
		sensors_data.humidity = (comp_data.humidity / 1024.0) + offset.humidity_offset;           /* %   */
		sensors_data.pressure = comp_data.pressure / 10000.0 / 1.333;  /* hPa or mmhg */
	}
#endif

#ifdef _CCS811
	uint32_t CO2_tVOC_res = 0;

	CO2_tVOC_res = readAlgorithmResults();
	sensors_data.CO2 = (uint16_t)(CO2_tVOC_res >> 16);
	sensors_data.TVOC = (uint16_t)CO2_tVOC_res;
#endif

#ifdef _WATER_TEMP
	HAL_ADC_Start(&hadc1);
	HAL_ADC_PollForConversion(&hadc1, 100);
	water_temp = HAL_ADC_GetValue(&hadc1);
	sensors_data.water_temperature = water_temp;
	HAL_ADC_Stop(&hadc1);
#endif
}

/* USER CODE END 4 */

void Error_Handler(void)
{
  __disable_irq();
  while (1)
  {
  }
}

/************************ (C) COPYRIGHT STMicroelectronics *****END OF FILE****/
